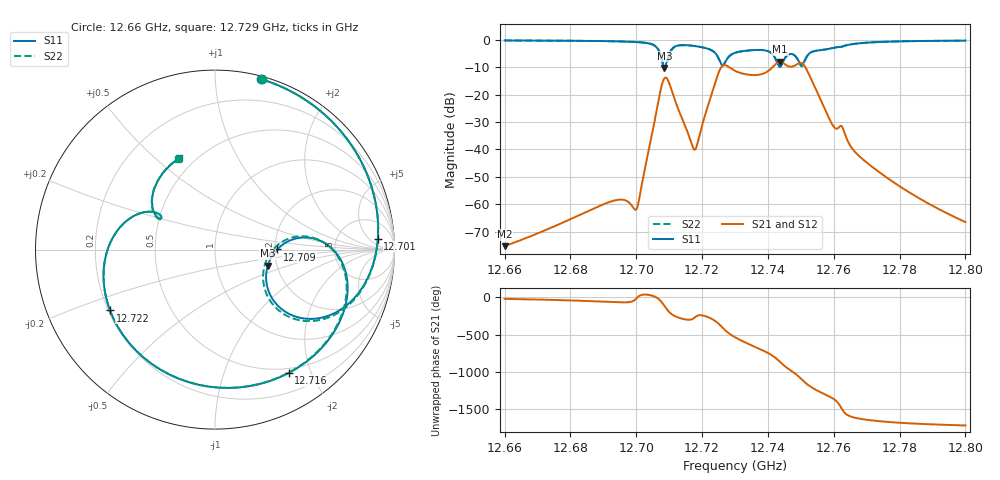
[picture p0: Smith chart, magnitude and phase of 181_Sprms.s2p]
! TOUCHSTONE file generated by CST MICROWAVE STUDIO
! Date and time: Wed Jul 31 20:02:28 2024
! Project name: WaveGuide_BPF-Ver4.1_U-shape_Ku_T3_C4_CWA_2.cst
! Parameters = {cavity_h=16; cavity_l0=10; cavity_l1=15.1829; cavity_l2=16.8197; cavity_l3=17.0921; cavity_l4=17.2935; cavity_l5=17.088; cavity_l6=17.5558; cavity_r=2.5; cavity_screw_l=0.5; cavity_screw_r=1.5; cavity_w=8; iris_h00=0; iris_h01=8.8202; iris_h112=0; iris_h12=5.5912; iris_h211=3.6689; i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
! Header version: 2018
! Port assignment regex: !\s*Touchstone port\s*([0-9]+)\s*=\s*(CST MWS port|CST DS port)\s*([0-9]+|Zmin|Zmax)\s*\(\"(.*)\"\)(\s*mode\s*([0-9]+))?.*
! Touchstone port assignment:
! Touchstone port 1 = CST MWS port 1 ("")
! Touchstone port 2 = CST MWS port 2 ("")
# GHz S RI R 50
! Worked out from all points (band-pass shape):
!   5001 points, 12.66 GHz to 12.8 GHz, reference 50 ohm
!   highest |S21| = -7.93 dB at 12.744 GHz (marker M1); lowest = -75.4 dB at 12.66 GHz (marker M2)
!   |S21| within 3 dB of the highest: 12.72536 GHz to 12.72952 GHz (4.16 MHz wide, 0.0327 % of centre); 12.7405 GHz to 12.75183 GHz (11.34 MHz wide, 0.0889 % of centre)
!   lowest |S11| = -10.2 dB at 12.709 GHz (marker M3), VSWR 1.89, Z = 89.4 - j17.8 ohm
!   |S11| at or under -10 dB: 12.70833 GHz to 12.70873 GHz (397.9 kHz wide, 0.00313 % of centre)
!   |S22| runs from -10.8 to -0.1 dB; largest |S21 - S12| = 1e-09
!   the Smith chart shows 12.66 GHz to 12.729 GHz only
!   S11 on the Smith chart (normalised r, x): 12.66 GHz: 0.02, +1.31; 12.701 GHz: 14, +10; 12.709 GHz: 2.06, +0.00; 12.716 GHz: 0.44, -1.68; 12.722 GHz: 0.21, -0.26; 12.729 GHz: 0.41, +0.60
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12.66  0.2566 0.9494  0.000162 -5.5e-05  0.000162 -5.5e-05  0.2593 0.9487
12.68335  0.6249 0.7391  0.000467 -0.000464  0.000467 -0.000464  0.6276 0.7369
12.70136  0.907 0.061  0.00152 0.000898  0.00152 0.000898  0.9075 0.0555
12.70668  0.544 -0.3858  0.0706 -0.0214  0.0706 -0.0214  0.5563 -0.3967
12.70852  0.294 -0.09  -0.0715 -0.1855  -0.0715 -0.1855  0.2681 -0.1398
12.70897  0.3463 0.000863  -0.1545 -0.1353  -0.1545 -0.1353  0.2985 -0.0347
12.71592  0.411 -0.6873  0.00891 0.016  0.00891 0.016  0.4138 -0.6836
12.7181  0.0676 -0.7708  -0.00236 0.0102  -0.00236 0.0102  0.0689 -0.7699
12.72227  -0.5849 -0.3388  0.00336 0.0782  0.00336 0.0782  -0.5852 -0.3381
12.72572  -0.3163 0.2006  0.2894 -0.1182  0.2894 -0.1182  -0.3134 0.1985
12.72899  -0.1983 0.5103  -0.2463 -0.1653  -0.2463 -0.1653  -0.2044 0.5073
12.73  0.00935 0.5836  -0.272 -0.0346  -0.272 -0.0346  0.00251 0.5832
12.73476  0.6449 -0.0867  0.0255 0.2291  0.0255 0.2291  0.6445 -0.0831
12.73882  0.0906 -0.6454  0.2463 0.0107  0.2463 0.0107  0.0905 -0.6455
12.74366  -0.2382 -0.216  -0.319 -0.2434  -0.319 -0.2434  -0.253 -0.2195
12.7468  -0.5392 -0.1396  -0.0862 0.314  -0.0862 0.314  -0.544 -0.1162
12.74974  -0.3353 0.1672  0.3802 0.035  0.3802 0.035  -0.3132 0.1747
12.75335  -0.2998 0.5304  -0.108 -0.1456  -0.108 -0.1456  -0.2929 0.5299
12.75957  0.6999 -0.137  -0.000777 0.0285  -0.000777 0.0285  0.6986 -0.1487
12.76578  0.0469 -0.8435  -0.00969 -0.00279  -0.00969 -0.00279  0.0391 -0.8447
12.77668  -0.7594 -0.547  -0.00193 0.00217  -0.00193 0.00217  -0.7626 -0.5429
12.8  -0.9659 0.142  3.81e-05 0.00047  3.81e-05 0.00047  -0.9654 0.1458
